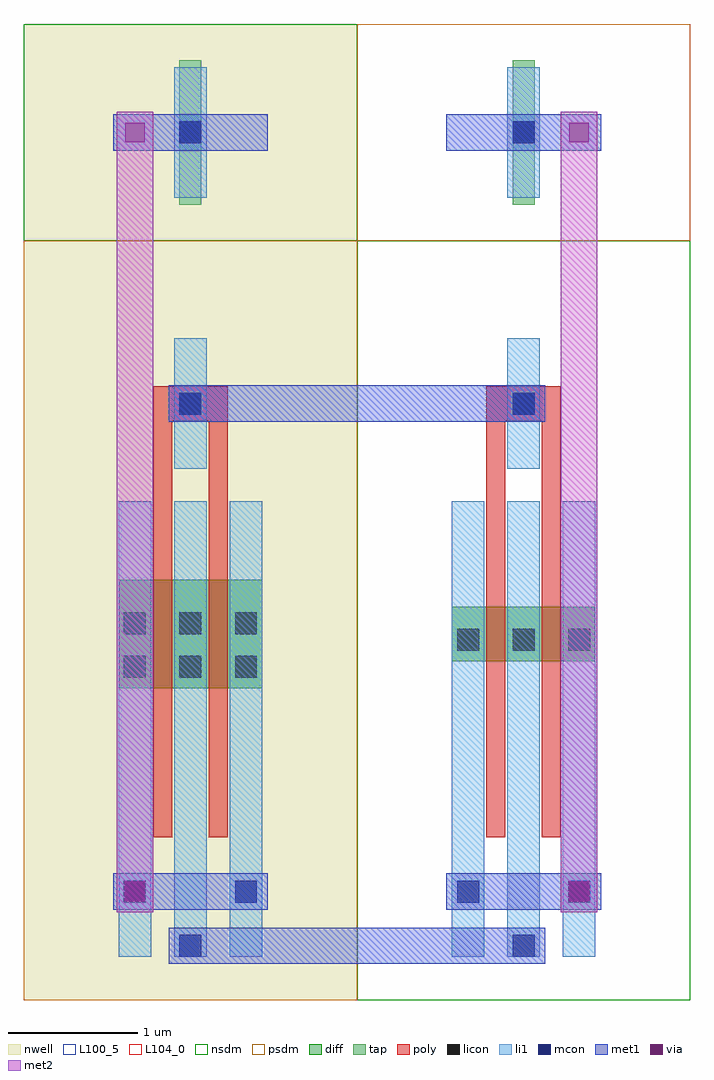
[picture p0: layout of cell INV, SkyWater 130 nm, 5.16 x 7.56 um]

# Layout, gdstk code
import gdstk
lib = gdstk.Library(unit=1e-6, precision=1e-09)
def R(c, l, rs):  # rectangles x0, y0, x1, y1
    for r in rs: c.add(gdstk.rectangle(r[:2], r[2:], *l))
def A(c, l, x, y, w, h, nx, ny, dx, dy):  # array of equal rectangles
    R(c, l, [(x+i*dx, y+j*dy, x+i*dx+w, y+j*dy+h) for i in range(nx) for j in range(ny)])
nwell = (64, 20)
diff = (65, 20)
tap = (65, 44)
poly = (66, 20)
licon = (66, 44)
li1 = (67, 20)
mcon = (67, 44)
met1 = (68, 20)
via = (68, 44)
met2 = (69, 20)
nsdm = (93, 44)
psdm = (94, 20)
L100_5 = (100, 5)
L104_0 = (104, 0)

inv = lib.new_cell('INV')
R(inv, nwell, [(0,0,2.58,7.56)])
R(inv, diff, [(0.735,2.415,1.845,3.255), (3.315,2.625,4.425,3.045)])
R(inv, tap, [(1.205,6.16,1.375,7.28), (3.785,6.16,3.955,7.28)])
R(inv, poly, [(1,1.26,1.15,4.62), (1.43,1.26,1.58,4.62), (3.58,1.26,3.73,4.62), (4.01,1.26,4.16,4.62), (1,4.485,1.58,4.755), (3.58,4.485,4.16,4.755)])
A(inv, licon, 0.775, 2.495, 0.17, 0.17, 3, 2, 0.43, 0.34)
A(inv, licon, 3.355, 2.705, 0.17, 0.17, 3, 1, 0.43, 0)
R(inv, licon, [(1.205,4.535,1.375,4.705), (3.785,4.535,3.955,4.705), (1.205,6.635,1.375,6.805), (3.785,6.635,3.955,6.805)])
A(inv, li1, 0.735, 0.335, 0.25, 3.53, 3, 1, 0.43, 0)
A(inv, li1, 3.315, 0.335, 0.25, 3.53, 3, 1, 0.43, 0)
R(inv, li1, [(1.165,4.115,1.415,5.125), (3.745,4.115,3.995,5.125), (1.165,6.215,1.415,7.225), (3.745,6.215,3.995,7.225)])
R(inv, mcon, [(1.205,0.335,1.375,0.505), (3.785,0.335,3.955,0.505), (0.775,0.755,0.945,0.925), (1.635,0.755,1.805,0.925), (3.355,0.755,3.525,0.925), (4.215,0.755,4.385,0.925), (1.205,4.535,1.375,4.705), (3.785,4.535,3.955,4.705), (1.205,6.635,1.375,6.805), (3.785,6.635,3.955,6.805)])
R(inv, met1, [(1.12,0.28,4.04,0.56), (0.69,0.7,1.89,0.98), (3.27,0.7,4.47,0.98), (1.12,4.48,4.04,4.76), (0.69,6.58,1.89,6.86), (3.27,6.58,4.47,6.86)])
R(inv, via, [(0.785,0.765,0.935,0.915), (4.225,0.765,4.375,0.915), (0.785,6.645,0.935,6.795), (4.225,6.645,4.375,6.795)])
R(inv, met2, [(0.72,0.68,1,6.88), (4.16,0.68,4.44,6.88)])
R(inv, nsdm, [(2.58,0,5.16,5.88), (0,5.88,2.58,7.56)])
R(inv, psdm, [(0,0,2.58,5.88), (2.58,5.88,5.16,7.56)])
R(inv, L100_5, [(0,0,5.16,7.56)])
R(inv, L104_0, [(0,0,5.16,7.56)])

lib.write_gds('INV.gds')
